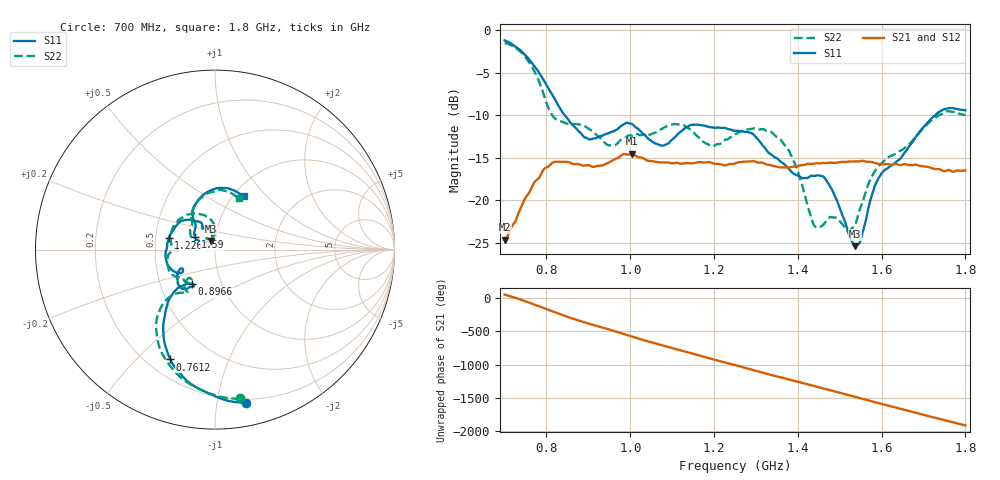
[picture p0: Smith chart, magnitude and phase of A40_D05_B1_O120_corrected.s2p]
! Created with skrf 1.9.0 (http://scikit-rf.org).
# Hz S RI R 50.0
!freq ReS11 ImS11 ReS21 ImS21 ReS12 ImS12 ReS22 ImS22
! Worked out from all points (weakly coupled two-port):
!   1601 points, 700 MHz to 1.8 GHz, reference 50 ohm
!   highest |S21| = -14.53 dB at 1.004 GHz (marker M1); lowest = -24.6 dB at 700 MHz (marker M2)
!   lowest |S11| = -25.4 dB at 1.537 GHz (marker M3), VSWR 1.11, Z = 47.4 + j4.54 ohm
!   |S11| at or under -10 dB: 843.5 MHz to 1.727 GHz (883.8 MHz wide, 68.8 % of centre)
!   |S22| runs from -23.6 to -1.5 dB; largest |S21 - S12| = 0.0034
!   S11 on the Smith chart (normalised r, x): 700 MHz: 0.17, -1.21; 761.2 MHz: 0.29, -0.63; 896.6 MHz: 0.72, -0.29; 1.226 GHz: 0.58, +0.08; 1.59 GHz: 0.79, +0.11; 1.8 GHz: 1.12, +0.75
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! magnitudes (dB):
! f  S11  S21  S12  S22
! 700 MHz  -1.2  -24.6  -24.4  -1.5
! 761.2 MHz  -3.6  -18.9  -18.8  -4.0
! 816.9 MHz  -7.8  -15.5  -15.6  -10.2
! 883.6 MHz  -12.2  -15.9  -15.8  -11.2
! 896.6 MHz  -12.7  -15.9  -16.0  -11.4
! 949.6 MHz  -12.1  -15.5  -15.5  -13.5
! 1.004 GHz  -11.0  -14.5  -14.7  -12.4
! 1.067 GHz  -13.4  -15.5  -15.5  -11.8
! 1.145 GHz  -11.1  -15.7  -15.7  -11.7
! 1.193 GHz  -11.4  -15.6  -15.5  -13.6
! 1.226 GHz  -11.5  -15.9  -15.8  -12.9
! 1.25 GHz  -11.8  -15.7  -15.6  -12.2
! 1.359 GHz  -15.4  -16.1  -16.1  -12.8
! 1.395 GHz  -17.0  -16.0  -16.0  -15.9
! 1.434 GHz  -17.1  -15.7  -15.7  -22.3
! 1.475 GHz  -18.2  -15.6  -15.6  -22.0
! 1.537 GHz  -25.4  -15.4  -15.4  -22.9
! 1.55 GHz  -24.6  -15.4  -15.4  -20.7
! 1.59 GHz  -17.7  -15.7  -15.7  -16.2
! 1.617 GHz  -16.1  -15.8  -15.7  -14.9
! 1.734 GHz  -9.7  -16.3  -16.4  -10.1
! 1.8 GHz  -9.4  -16.5  -16.5  -10.0
